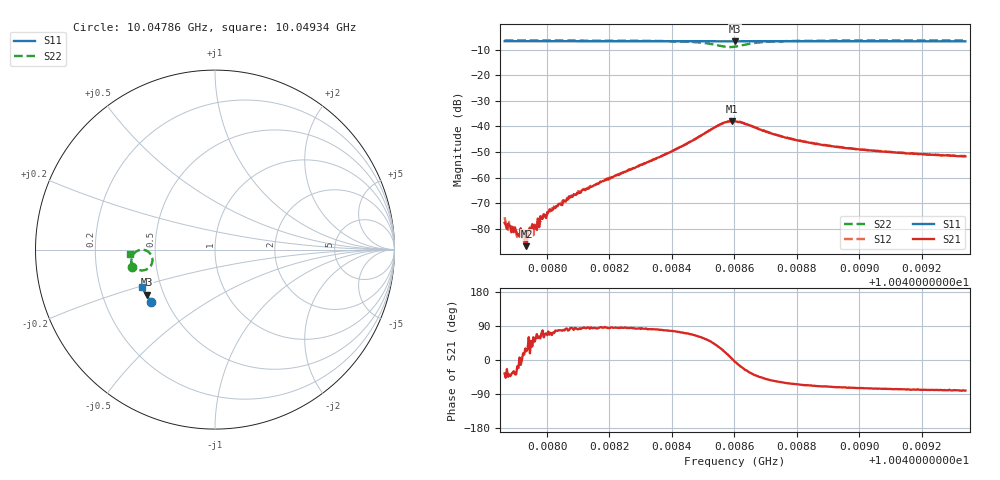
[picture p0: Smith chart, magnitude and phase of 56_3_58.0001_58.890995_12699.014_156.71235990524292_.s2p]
#  HZ  S  RI  R  50.00
! Rohde & Schwarz Vector Network Analyzer
! Rohde-Schwarz,ZNB20-2Port,1311601062101988,3.16
! Created: UTC 3/21/2024, 12:52:48 AM
! freq[Hz]  re:S11  im:S11  re:S21  im:S21  re:S12  im:S12  re:S22  im:S22
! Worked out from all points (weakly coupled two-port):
!   401 points, 10.04786 GHz to 10.04934 GHz, reference 50 ohm
!   highest |S21| = -37.91 dB at 10.04859 GHz (marker M1); lowest = -86.7 dB at 10.04793 GHz (marker M2)
!   lowest |S11| = -6.8 dB at 10.0486 GHz (marker M3), VSWR 2.68, Z = 20.1 - j12.8 ohm
!   |S11| at or under -10 dB: nowhere
!   |S22| runs from -9.1 to -6.5 dB; largest |S21 - S12| = 0.0011
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1.0047864e10  -0.3548 -0.2922  0.000107 -7.68e-05  0.000146 -8.55e-05  -0.4648 -0.0981
1.0047875e10  -0.3551 -0.2916  9.06e-05 -8.83e-05  7.62e-05 -5.87e-05  -0.4648 -0.0971
1.0047894e10  -0.356 -0.2907  7.72e-05 -4.39e-05  8.27e-05 -2.46e-05  -0.465 -0.0956
1.0047934e10  -0.3577 -0.2885  4.25e-05 1.82e-05  5.41e-05 4.43e-05  -0.4655 -0.0923
1.0047956e10  -0.3585 -0.2872  5.09e-05 8.83e-05  4.36e-05 6.19e-05  -0.4657 -0.0903
1.0047968e10  -0.3589 -0.2867  3.56e-05 8.95e-05  4.5e-05 0.000112  -0.4658 -0.0893
1.0047986e10  -0.3598 -0.2855  3.23e-05 0.000154  7.45e-05 0.000168  -0.466 -0.0878
1.004799e10  -0.36 -0.2855  9.88e-05 0.000168  3.22e-05 0.000181  -0.4661 -0.0874
1.0048008e10  -0.3606 -0.2845  9.53e-05 0.000222  7.34e-05 0.0002  -0.4662 -0.0857
1.0048023e10  -0.3612 -0.2836  8.61e-05 0.00025  4.36e-05 0.000271  -0.4663 -0.0844
1.0048078e10  -0.3634 -0.2808  3.9e-05 0.000433  9.98e-06 0.000452  -0.4667 -0.0792
1.0048111e10  -0.3648 -0.2789  6.14e-05 0.000561  1.99e-05 0.000548  -0.4668 -0.0759
1.0048358e10  -0.374 -0.2655  0.000451 0.00246  0.000286 0.00248  -0.4624 -0.042
1.0048439e10  -0.3771 -0.2606  0.00138 0.0041  0.00114 0.00419  -0.4512 -0.0219
1.0048528e10  -0.3798 -0.2553  0.00616 0.00648  0.00575 0.00683  -0.402 -0.000774
1.0048561e10  -0.3805 -0.2535  0.0101 0.00518  0.00985 0.0058  -0.3655 -0.0175
1.0048591e10  -0.3812 -0.2522  0.0127 0.000919  0.0125 0.0018  -0.3484 -0.0591
1.0048602e10  -0.3813 -0.2517  0.0126 -0.00119  0.0127 -0.000129  -0.3514 -0.0766
1.0048694e10  -0.3852 -0.2474  0.00556 -0.00617  0.0059 -0.00583  -0.4284 -0.1119
1.0048849e10  -0.391 -0.2386  0.00179 -0.00435  0.00208 -0.0043  -0.4625 -0.0788
1.0049096e10  -0.3988 -0.224  0.00075 -0.00309  0.000915 -0.00307  -0.4715 -0.0486
1.0049339e10  -0.4062 -0.2096  0.000423 -0.00257  0.000565 -0.00259  -0.474 -0.0273
